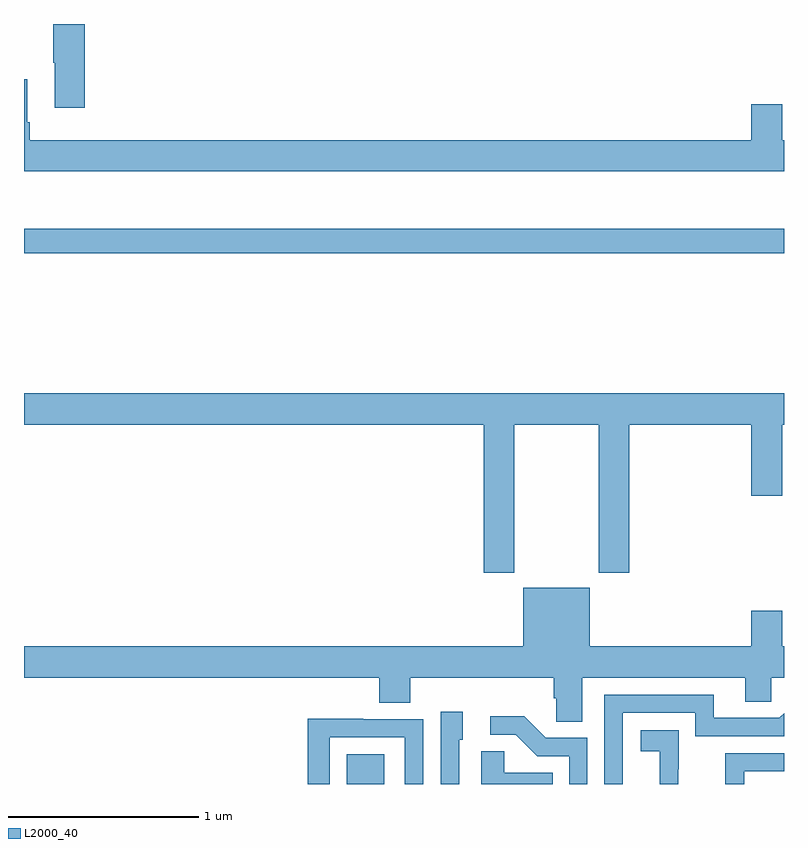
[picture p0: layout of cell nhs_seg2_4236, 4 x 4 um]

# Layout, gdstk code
import gdstk
lib = gdstk.Library(unit=1e-6, precision=1e-09)
def R(c, l, rs):  # rectangles x0, y0, x1, y1
    for r in rs: c.add(gdstk.rectangle(r[:2], r[2:], *l))
def P(c, l, *ps):  # polygons
    for p in ps: c.add(gdstk.Polygon(p, *l))
L2000_40 = (2000, 40)

nhs_seg2_4236 = lib.new_cell('nhs_seg2_4236')
R(nhs_seg2_4236, L2000_40, [(342.698,589.8,342.895,589.957), (341,592.594,345,592.723)])
P(nhs_seg2_4236, L2000_40, [(341.321,593.8),(341.155,593.8),(341.155,593.596),(341.162,593.596),(341.162,593.358),(341.321,593.358)],
  [(345,593.188),(344.992,593.188),(344.992,593.377),(344.828,593.377),(344.828,593.188),(341.03,593.188),(341.03,593.284),(341.017,593.284),(341.017,593.509),(341,593.509),(341,593.024),(345,593.024)],
  [(343.581,591.692),(344.026,591.692),(344.026,590.913),(344.186,590.913),(344.186,591.692),(344.828,591.692),(344.828,591.318),(344.992,591.318),(344.992,591.692),(345,591.692),(345,591.856),(341,591.856),(341,591.692),(343.421,591.692),(343.421,590.913),(343.581,590.913)],
  [(343.939,590.36),(344.795,590.36),(344.795,590.233),(344.934,590.233),(344.934,590.36),(345,590.36),(345,590.524),(344.992,590.524),(344.992,590.713),(344.828,590.713),(344.828,590.524),(343.978,590.524),(343.978,590.833),(343.628,590.833),(343.628,590.524),(341,590.524),(341,590.36),(342.869,590.36),(342.869,590.227),(343.034,590.227),(343.034,590.36),(343.787,590.36),(343.787,590.251),(343.8,590.251),(343.8,590.128),(343.939,590.128)],
  [(344.151,590.175),(344.532,590.175),(344.532,590.052),(345,590.052),(345,590.172),(344.976,590.148),(344.629,590.148),(344.629,590.271),(344.055,590.271),(344.055,589.8),(344.151,589.8)],
  [(343.29,590.034),(343.309,590.034),(343.309,590.179),(343.194,590.179),(343.194,589.8),(343.29,589.8)],
  [(343.965,590.043),(343.746,590.043),(343.633,590.156),(343.455,590.156),(343.455,590.058),(343.589,590.058),(343.7,589.947),(343.869,589.947),(343.869,589.8),(343.965,589.8)],
  [(342.609,590.046),(343.005,590.046),(343.005,589.8),(343.101,589.8),(343.101,590.142),(342.785,590.142),(342.785,590.144),(342.493,590.144),(342.493,589.8),(342.609,589.8)],
  [(344.444,589.877),(344.445,589.877),(344.445,590.083),(344.247,590.083),(344.247,589.973),(344.345,589.973),(344.345,589.8),(344.444,589.8)],
  [(343.784,589.858),(343.527,589.858),(343.527,589.973),(343.406,589.973),(343.406,589.8),(343.784,589.8)],
  [(344.79,589.866),(345,589.866),(345,589.962),(344.692,589.962),(344.692,589.8),(344.79,589.8)])

lib.write_gds('nhs_seg2_4236.gds')
